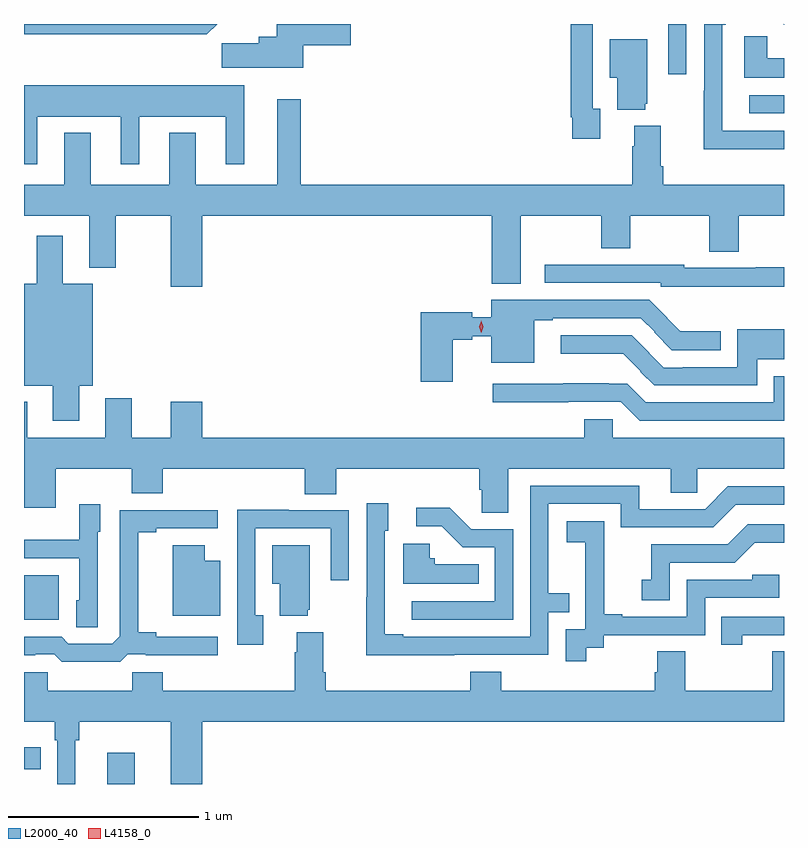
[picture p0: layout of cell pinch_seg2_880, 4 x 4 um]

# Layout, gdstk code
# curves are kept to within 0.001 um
import gdstk
lib = gdstk.Library(unit=1e-6, precision=1e-09)
def R(c, l, rs):  # rectangles x0, y0, x1, y1
    for r in rs: c.add(gdstk.rectangle(r[:2], r[2:], *l))
def P(c, l, *ps):  # polygons
    for p in ps: c.add(gdstk.Polygon(p, *l))
L2000_40 = (2000, 40)
L4158_0 = (4158, 0)

pinch_seg2_880 = lib.new_cell('pinch_seg2_880')
R(pinch_seg2_880, L2000_40, [(416.42,599.357,416.566,599.521), (415.983,599.434,416.072,599.55), (415.983,600.221,416.167,600.457), (419.799,602.886,419.983,602.982), (419.373,603.093,419.469,603.357)])
P(pinch_seg2_880, L2000_40, [(417.454,603.245),(417.703,603.245),(417.703,603.357),(417.314,603.357),(417.314,603.289),(417.218,603.289),(417.218,603.257),(417.024,603.257),(417.024,603.128),(417.454,603.128)],
  [(419.017,602.91),(418.977,602.91),(418.977,603.357),(418.861,603.357),(418.861,602.866),(418.869,602.866),(418.869,602.754),(419.017,602.754)],
  [(419.983,602.796),(419.658,602.796),(419.658,603.354),(419.677,603.354),(419.677,603.357),(419.562,603.357),(419.562,603.005),(419.56,603.005),(419.56,602.699),(419.983,602.699)],
  [(419.983,603.357),(419.978,603.357),(419.983,603.352)],
  [(417,603.357),(415.983,603.357),(415.983,603.304),(416.689,603.304),(416.689,603.302),(416.945,603.302)],
  [(419.983,603.178),(419.895,603.178),(419.895,603.293),(419.774,603.293),(419.774,603.074),(419.983,603.074)],
  [(419.252,602.937),(419.263,602.937),(419.263,603.277),(419.066,603.277),(419.066,603.074),(419.105,603.074),(419.105,602.906),(419.252,602.906)],
  [(416.053,602.87),(416.492,602.87),(416.492,602.619),(416.59,602.619),(416.59,602.87),(417.044,602.87),(417.044,602.619),(417.142,602.619),(417.142,603.034),(415.983,603.034),(415.983,602.619),(416.053,602.619)],
  [(416.195,602.785),(416.195,602.512),(415.983,602.512),(415.983,602.348),(416.327,602.348),(416.327,602.075),(416.467,602.075),(416.467,602.348),(416.756,602.348),(416.756,601.974),(416.92,601.974),(416.92,602.348),(418.445,602.348),(418.445,601.991),(418.597,601.991),(418.597,602.348),(419.02,602.348),(419.02,602.176),(419.175,602.176),(419.175,602.348),(419.59,602.348),(419.59,602.158),(419.745,602.158),(419.745,602.348),(419.983,602.348),(419.983,602.512),(419.348,602.512),(419.348,602.608),(419.335,602.608),(419.335,602.821),(419.195,602.821),(419.195,602.714),(419.183,602.714),(419.183,602.512),(417.439,602.512),(417.439,602.962),(417.317,602.962),(417.317,602.512),(416.887,602.512),(416.887,602.785),(416.747,602.785),(416.747,602.512),(416.335,602.512),(416.335,602.785)],
  [(416.275,601.454),(416.344,601.454),(416.344,601.99),(416.188,601.99),(416.188,602.242),(416.051,602.242),(416.051,601.99),(415.983,601.99),(415.983,601.454),(416.135,601.454),(416.135,601.269),(416.275,601.269)],
  [(419.983,602.078),(419.833,602.078),(419.833,602.073),(419.457,602.073),(419.457,602.091),(418.725,602.091),(418.725,601.995),(419.334,601.995),(419.334,601.975),(419.983,601.975)],
  [(418.24,601.696),(418.341,601.696),(418.341,601.714),(418.442,601.714),(418.442,601.574),(418.669,601.574),(418.669,601.797),(418.765,601.797),(418.765,601.809),(419.229,601.809),(419.302,601.736),(419.3,601.734),(419.393,601.641),(419.65,601.641),(419.65,601.74),(419.438,601.74),(419.275,601.905),(418.442,601.905),(418.442,601.813),(418.341,601.813),(418.341,601.84),(418.07,601.84),(418.07,601.473),(418.24,601.473)],
  [(419.842,601.592),(419.983,601.592),(419.983,601.75),(419.738,601.75),(419.738,601.551),(419.449,601.551),(419.449,601.548),(419.349,601.548),(419.273,601.624),(419.275,601.626),(419.182,601.719),(418.809,601.719),(418.809,601.622),(419.137,601.622),(419.229,601.53),(419.227,601.528),(419.3,601.455),(419.842,601.455)],
  [(419.983,601.503),(419.93,601.503),(419.93,601.365),(419.256,601.365),(419.157,601.464),(419.06,601.465),(418.449,601.464),(418.449,601.367),(419.124,601.368),(419.223,601.269),(419.983,601.269)],
  [(416.549,600.888),(416.713,600.888),(416.713,601.016),(417.461,601.016),(417.461,600.883),(417.626,600.883),(417.626,601.016),(418.379,601.016),(418.379,600.907),(418.392,600.907),(418.392,600.784),(418.531,600.784),(418.531,601.016),(419.387,601.016),(419.387,600.889),(419.526,600.889),(419.526,601.016),(419.983,601.016),(419.983,601.18),(419.082,601.18),(419.082,601.278),(418.931,601.278),(418.931,601.18),(416.92,601.18),(416.92,601.369),(416.756,601.369),(416.756,601.18),(416.551,601.18),(416.551,601.387),(416.411,601.387),(416.411,601.18),(415.999,601.18),(415.999,601.369),(415.983,601.369),(415.983,601.016),(415.985,601.016),(415.985,600.81),(416.149,600.81),(416.149,601.016),(416.549,601.016)],
  [(418.247,600.036),(418.743,600.036),(418.743,600.261),(418.853,600.261),(418.853,600.362),(418.743,600.362),(418.743,600.831),(419.124,600.831),(419.124,600.708),(419.61,600.708),(419.73,600.828),(419.983,600.828),(419.983,600.924),(419.688,600.924),(419.568,600.804),(419.221,600.804),(419.221,600.927),(418.647,600.927),(418.647,600.132),(417.979,600.132),(417.979,600.145),(417.882,600.145),(417.882,600.69),(417.901,600.69),(417.901,600.835),(417.786,600.835),(417.786,600.341),(417.784,600.341),(417.784,600.035)],
  [(416.37,600.684),(416.383,600.684),(416.383,600.829),(416.274,600.829),(416.274,600.643),(415.983,600.643),(415.983,600.546),(416.274,600.546),(416.274,600.324),(416.258,600.324),(416.258,600.181),(416.37,600.181)],
  [(418.557,600.699),(418.338,600.699),(418.225,600.812),(418.047,600.812),(418.047,600.714),(418.181,600.714),(418.292,600.603),(418.461,600.603),(418.461,600.318),(418.023,600.318),(418.023,600.222),(418.557,600.222)],
  [(417.241,600.246),(417.201,600.246),(417.201,600.702),(417.597,600.702),(417.597,600.429),(417.693,600.429),(417.693,600.798),(417.377,600.798),(417.377,600.8),(417.105,600.8),(417.105,600.09),(417.241,600.09)],
  [(416.529,600.039),(416.623,600.039),(416.623,600.035),(417.004,600.035),(417.004,600.132),(416.68,600.132),(416.68,600.155),(416.585,600.155),(416.585,600.682),(416.68,600.682),(416.68,600.702),(417.004,600.702),(417.004,600.798),(416.487,600.798),(416.487,600.135),(416.448,600.096),(416.217,600.096),(416.181,600.132),(415.983,600.132),(415.983,600.035),(416.042,600.035),(416.042,600.039),(416.142,600.039),(416.182,600),(416.489,600)],
  [(418.942,600.073),(419.034,600.073),(419.034,600.141),(419.568,600.141),(419.568,600.336),(419.957,600.336),(419.957,600.459),(419.817,600.459),(419.817,600.432),(419.472,600.432),(419.472,600.237),(419.131,600.237),(419.131,600.25),(419.036,600.25),(419.036,600.533),(419.037,600.533),(419.037,600.739),(418.839,600.739),(418.839,600.629),(418.937,600.629),(418.937,600.401),(418.938,600.401),(418.938,600.171),(418.833,600.171),(418.833,600.003),(418.942,600.003)],
  [(419.382,600.522),(419.724,600.522),(419.828,600.626),(419.983,600.626),(419.983,600.723),(419.792,600.723),(419.687,600.618),(419.284,600.618),(419.284,600.433),(419.235,600.433),(419.235,600.324),(419.382,600.324)],
  [(418.376,600.514),(418.146,600.514),(418.146,600.546),(418.119,600.546),(418.119,600.622),(417.98,600.622),(417.98,600.41),(418.376,600.41)],
  [(417.016,600.532),(416.935,600.532),(416.935,600.613),(416.765,600.613),(416.765,600.242),(417.016,600.242)],
  [(417.476,600.273),(417.487,600.273),(417.487,600.613),(417.29,600.613),(417.29,600.41),(417.329,600.41),(417.329,600.242),(417.476,600.242)],
  [(419.764,600.141),(419.983,600.141),(419.983,600.237),(419.653,600.237),(419.653,600.09),(419.764,600.09)],
  [(416.254,599.588),(416.273,599.588),(416.273,599.684),(416.756,599.684),(416.756,599.357),(416.92,599.357),(416.92,599.684),(419.983,599.684),(419.983,600.056),(419.92,600.056),(419.92,599.848),(419.463,599.848),(419.463,600.056),(419.315,600.056),(419.315,599.946),(419.303,599.946),(419.303,599.848),(418.496,599.848),(418.496,599.947),(418.331,599.947),(418.331,599.848),(417.572,599.848),(417.572,599.944),(417.559,599.944),(417.559,600.157),(417.419,600.157),(417.419,600.05),(417.407,600.05),(417.407,599.848),(416.714,599.848),(416.714,599.946),(416.554,599.946),(416.554,599.848),(416.109,599.848),(416.109,599.946),(415.983,599.946),(415.983,599.684),(416.144,599.684),(416.144,599.588),(416.157,599.588),(416.157,599.357),(416.254,599.357)])
P(pinch_seg2_880, L4158_0, [(418.389,601.733),(418.389,601.733),(418.379,601.763),(418.389,601.793),(418.389,601.794),(418.39,601.793),(418.4,601.763),(418.39,601.733)])

lib.write_gds('pinch_seg2_880.gds')
